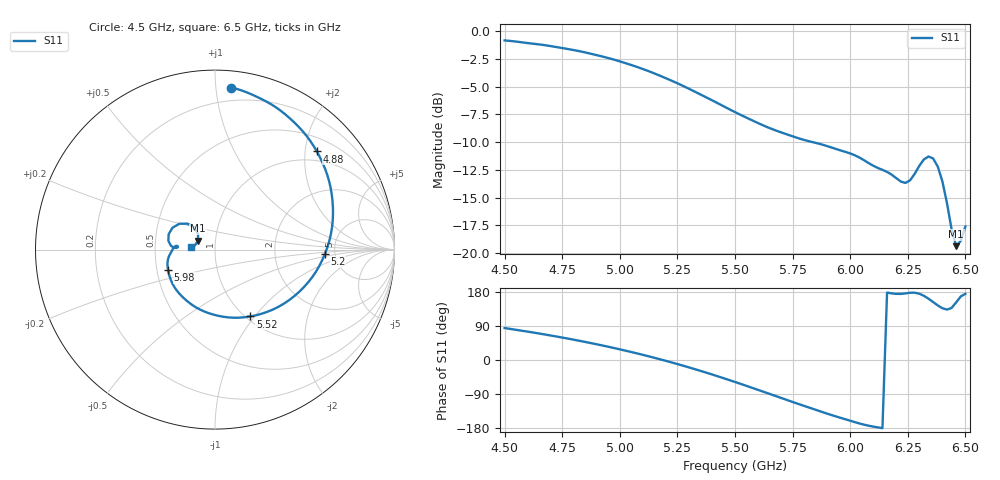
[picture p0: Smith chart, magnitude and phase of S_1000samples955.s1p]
! TOUCHSTONE file generated by CST MICROWAVE STUDIO
! Date and time: Sat Oct 29 22:08:22 2022
! Project name: L.cst
! Parameters = {Di=1.27; Epsilon_r=1.56; InnerDiameter=1.27; Length=2; Lf=10; Lg=60; OuterConductorThickness=0.2921; OuterDiameter=3.6; Wf=3; Wp=41.2; de=1.5; df=6.8; g=0.8; gx=4.11667; gy=2.88441; h=2.34; hf=1.524; px=14.4556; py=9.52036; w=9.7; wx=10.3389; wy=6.63594}
! Header version: 2018
! Port assignment regex: !\s*Touchstone port\s*([0-9]+)\s*=\s*(CST MWS port|CST DS port)\s*([0-9]+|Zmin|Zmax)\s*\(\"(.*)\"\)(\s*mode\s*([0-9]+))?.*
! Touchstone port assignment:
! Touchstone port 1 = CST MWS port 1 ("")
# GHz S DB R 50
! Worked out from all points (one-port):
!   101 points, 4.5 GHz to 6.5 GHz, reference 50 ohm
!   lowest |S11| = -19.4 dB at 6.46 GHz (marker M1), VSWR 1.24, Z = 41.1 + j4.17 ohm
!   |S11| at or under -10 dB: 5.835 GHz to end of sweep
!   S11 on the Smith chart (normalised r, x): 4.5 GHz: 0.11, +1.10; 4.88 GHz: 0.78, +2.25; 5.2 GHz: 4.14, -0.32; 5.52 GHz: 1.05, -0.95; 5.98 GHz: 0.57, -0.14; 6.5 GHz: 0.77, +0.02
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4.5  -0.85 84.3
4.64  -1.18 70.9
4.76  -1.57 58.1
4.88  -2.07 43.9
5  -2.73 28.1
5.1  -3.42 13.6
5.2  -4.25 -2.2
5.26  -4.80 -12.4
5.38  -6.02 -34.3
5.5  -7.30 -58.0
5.52  -7.51 -62.1
5.64  -8.66 -87.3
5.76  -9.55 -112.8
5.88  -10.24 -137.5
5.98  -10.89 -156.6
6  -11.03 -160.2
6.08  -11.89 -173.4
6.16  -12.69 177.9
6.22  -13.56 174.5
6.26  -13.45 177.5
6.32  -11.56 169.4
6.36  -11.49 152.9
6.38  -12.20 144.1
6.4  -13.53 136.6
6.44  -17.85 137.3
6.46  -19.38 152.2
6.48  -18.90 167.8
6.5  -17.61 174.6
